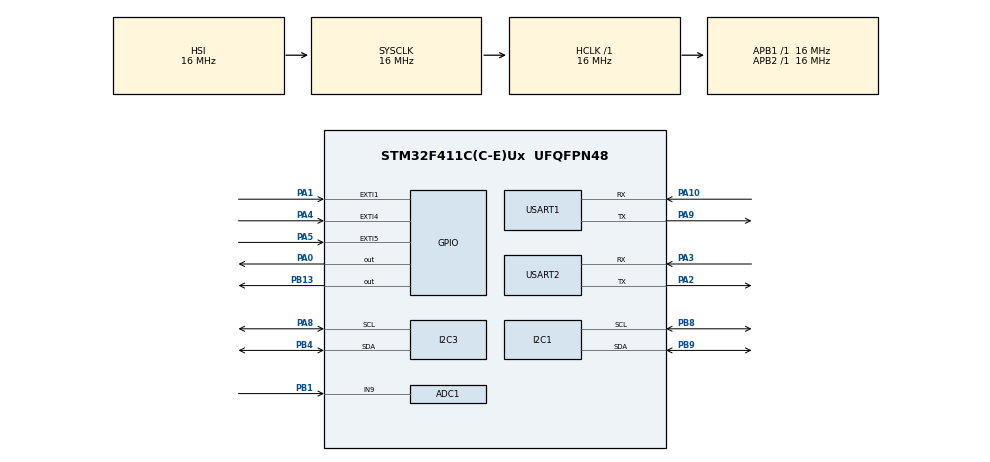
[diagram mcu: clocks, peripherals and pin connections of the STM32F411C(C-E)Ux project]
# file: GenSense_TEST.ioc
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ADC1.Channel-1\#ChannelRegularConversion=ADC_CHANNEL_9
ADC1.NbrOfConversionFlag=1
ADC1.Rank-1\#ChannelRegularConversion=1
ADC1.SamplingTime-1\#ChannelRegularConversion=ADC_SAMPLETIME_3CYCLES
ADC1.master=1
Mcu.Family=STM32F4
Mcu.Name=STM32F411C(C-E)Ux
Mcu.Package=UFQFPN48
NVIC.PriorityGroup=NVIC_PRIORITYGROUP_4
NVIC.TIM3_IRQn=true\:0\:0\:false\:false\:true\:true\:true\:true
PA0-WKUP.Signal=GPIO_Output
PA1.Signal=GPXTI1
PA10.Mode=Asynchronous
PA10.Signal=USART1_RX
PA13.Mode=Trace_Asynchronous_SW
PA13.Signal=SYS_JTMS-SWDIO
PA14.Mode=Trace_Asynchronous_SW
PA14.Signal=SYS_JTCK-SWCLK
PA2.Mode=Asynchronous
PA2.Signal=USART2_TX
PA3.Mode=Asynchronous
PA3.Signal=USART2_RX
PA4.Signal=GPXTI4
PA5.Signal=GPXTI5
PA8.Mode=I2C
PA8.Signal=I2C3_SCL
PA9.Mode=Asynchronous
PA9.Signal=USART1_TX
PB1.Signal=ADCx_IN9
PB13.Signal=GPIO_Output
PB3.Mode=Trace_Asynchronous_SW
PB3.Signal=SYS_JTDO-SWO
PB4.Mode=I2C
PB4.Signal=I2C3_SDA
PB8.Mode=I2C
PB8.Signal=I2C1_SCL
PB9.Mode=I2C
PB9.Signal=I2C1_SDA
PH0\ -\ OSC_IN.Mode=HSE-External-Oscillator
PH0\ -\ OSC_IN.Signal=RCC_OSC_IN
PH1\ -\ OSC_OUT.Mode=HSE-External-Oscillator
PH1\ -\ OSC_OUT.Signal=RCC_OSC_OUT
ProjectManager.HeapSize=0x200
ProjectManager.StackSize=0x400
ProjectManager.TargetToolchain=STM32CubeIDE
RCC.AHBFreq_Value=16000000
RCC.APB1Freq_Value=16000000
RCC.APB2Freq_Value=16000000
RCC.CortexFreq_Value=16000000
RCC.HSE_VALUE=25000000
RCC.HSI_VALUE=16000000
RCC.LSE_VALUE=32768
RCC.SYSCLKFreq_VALUE=16000000
RCC.VCOOutputFreq_Value=192000000
SH.ADCx_IN9.0=ADC1_IN9,IN9
TIM3.AutoReloadPreload=TIM_AUTORELOAD_PRELOAD_ENABLE
TIM3.Period=63998
TIM3.Prescaler=124
USART1.VirtualMode=VM_ASYNC
USART2.VirtualMode=VM_ASYNC
VP_TIM3_VS_ClockSourceINT.Mode=Internal
board=custom

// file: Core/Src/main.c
/* USER CODE BEGIN Header */
/**
  ******************************************************************************
  * @file           : main.c
  * @brief          : Main program body
  ******************************************************************************
  * @attention
  *
  * Copyright (c) 2023 STMicroelectronics.
  * All rights reserved.
  *
  * This software is licensed under terms that can be found in the LICENSE file
  * in the root directory of this software component.
  * If no LICENSE file comes with this software, it is provided AS-IS.
  *
  ******************************************************************************
  */
/* USER CODE END Header */
#include "main.h"

/* USER CODE BEGIN Includes */
#include "PCA9548a.h"
#include "mlx90614.h"
#include "sht3x.h"
#include "PASCO2.h"
#include "VEML6031.h"
#include "AS7343.h"
/* USER CODE END Includes */

/* USER CODE BEGIN PM */
#define SHT31_COUNTER 20
#define PASCO2_COUNTER 20
#define VEML6031_COUNTER 20
#define AS7343_COUNTER 20
#define MLX90614_COUNTER 10
/* USER CODE END PM */

ADC_HandleTypeDef hadc1;

I2C_HandleTypeDef hi2c1;
I2C_HandleTypeDef hi2c3;

TIM_HandleTypeDef htim3;

UART_HandleTypeDef huart1;
UART_HandleTypeDef huart2;

void SystemClock_Config(void);
static void MX_GPIO_Init(void);
static void MX_I2C1_Init(void);
static void MX_I2C3_Init(void);
static void MX_USART1_UART_Init(void);
static void MX_TIM3_Init(void);
static void MX_ADC1_Init(void);
static void MX_USART2_UART_Init(void);
/* USER CODE BEGIN PFP */

pca9548a_handle_t pca9548a;
sht3x_handle_t sht31d;
pasco2_handle_t pasco2;
veml6031_handle_t veml6031;
as7343_handle_t as7343;

uint16_t SHT31_counter = SHT31_COUNTER;
bool SHT31_counter_timeout_flag = false;

uint16_t PASCO2_counter = PASCO2_COUNTER;
bool PASCO2_counter_timeout_flag = false;

uint16_t VEML6031_counter = VEML6031_COUNTER;
bool VEML6031_counter_timeout_flag = false;

uint16_t AS7343_counter = AS7343_COUNTER;
bool AS7343_counter_timeout_flag = false;

uint16_t MLX90614_counter = MLX90614_COUNTER;
bool MLX90614_counter_timeout_flag = false;
/* USER CODE END PFP */

/* USER CODE BEGIN 0 */
void scan_I2C_bus(I2C_HandleTypeDef* bus, uint8_t busNo) {
	HAL_StatusTypeDef result;
	char buf[20];

	sprintf(buf, "Scanning Bus %d\r\n", busNo);
	HAL_UART_Transmit(&huart1, (uint8_t *)buf, sizeof(buf), 100);
	memset(buf, 0, sizeof(buf));

	for (int i = 0; i<0x7F; i++)
	  {
		  result = HAL_I2C_IsDeviceReady(bus, (uint16_t) (i<<1), 3, 5);
//		  if (result != HAL_OK)
//		  {
//			  sprintf(buf, "--\r\n");
//			  HAL_UART_Transmit(&huart1, (uint8_t *)buf, sizeof(buf), 100);
//			  memset(buf, 0, sizeof(buf));
//		  }
		  if (result == HAL_OK)
		  {
			  sprintf(buf, "0x%X\r\n", i);
			  HAL_UART_Transmit(&huart1, (uint8_t *)buf, sizeof(buf), 100);
			  memset(buf, 0, sizeof(buf));
		  }
	  }
}
int takeSize(char *Array)
{
    int count=0;
    while(Array[count]!='\n' && count<100)
    {
    	count++;
    }

    return (count+1);

}

/* USER CODE END 0 */

int main(void)
{

  /* MCU Configuration--------------------------------------------------------*/

  /* Reset of all peripherals, Initializes the Flash interface and the Systick. */
  HAL_Init();

  /* Configure the system clock */
  SystemClock_Config();

  /* Initialize all configured peripherals */
  MX_GPIO_Init();
  MX_I2C1_Init();
  MX_I2C3_Init();
  MX_USART1_UART_Init();
  MX_TIM3_Init();
  MX_ADC1_Init();
  MX_USART2_UART_Init();
  /* USER CODE BEGIN 2 */
  huart2 = huart1;

  //I2C Mux handler
  HAL_GPIO_WritePin(GPIOA, GPIO_PIN_0, 1);
  HAL_Delay(100);
  pca9548a.i2c_handle = &hi2c1;
  pca9548a.device_address = (uint16_t)PCA9548_ADDR0;
  PCA9548a_Select(&pca9548a, 0);

  //SHT handler
  sht31d.i2c_handle = &hi2c3;
  sht31d.device_address = (uint16_t)SHT3X_I2C_DEVICE_ADDRESS_ADDR_PIN_LOW;
  sht3x_init(&sht31d);

  //PASCO2 handler
  pasco2.i2c_handle = &hi2c3;
  pasco2.device_address = (uint16_t)PASCO2_ADDR;
  PASCO2_init(&pasco2);

  //VEML6031 handler
  veml6031.i2c_handle = &hi2c3;
  veml6031.device_address = VEML6031_I2C_ADDRESS;

  //VEML6031 handler
  as7343.i2c_handle = &hi2c3;
  as7343.device_address = AS7343_ADDR_A;
  AS7343_power(&as7343, true);
  AS7343_set_cycle(&as7343, 3);
  AS7343_direct_config_3_chain(&as7343);

  //MLX90614 handler
  MLX90614_Init(&hi2c1);

//  if(!PASCO2_get_status(&pasco2)) {
//	  char* error = "Error in PASCO2 configuration.\r\n";
//	  HAL_UART_Transmit(&huart1, error, takeSize(error), 100);
//
//	  return;
//  }

  //variables to store data
  float sht31_temp, sht31_humidity, resolution, as7343_TINT;
  uint16_t co2_ppm;
  uint32_t lux;
  uint8_t IR;
  float temp_obj1, temp_amb;

  uint16_t as7343_channels[18];

  uint32_t uart_buf_len;
  char uart_buf[100];
  HAL_Delay(100);

  scan_I2C_bus(&hi2c1, 1);
  scan_I2C_bus(&hi2c3, 3);

  HAL_TIM_Base_Start_IT(&htim3);

//  for(int i = 0; i<8;i++) {
//  	  PCA9548a_Select(&pca9548a, i);
//    	  HAL_Delay(500);
//    	  HAL_I2C_Master_Receive(&hi2c1, (0x70 << 1), &IR, 1, 10);
//    	  uart_buf_len = sprintf(uart_buf, "Channel: %d\r\n\n", IR);
//    	  HAL_UART_Transmit(&huart1, (uint8_t *)uart_buf, uart_buf_len, 100);
//    	  memset(uart_buf, 0, sizeof(uart_buf));
//    	  HAL_Delay(500);
//    	  scan_I2C_bus(&hi2c1, 1);
//    	  HAL_Delay(500);
//    }

  /* USER CODE END 2 */

  /* Infinite loop */
  /* USER CODE BEGIN WHILE */
  int i = 0;
  while (1)
  {
    /* USER CODE END WHILE */

    /* USER CODE BEGIN 3 */
//	  scan_I2C_bus(&hi2c1, 1);
//	  HAL_Delay(500);
//	  HAL_I2C_Master_Receive(&hi2c1, (0x70 << 1), &IR, 1, 10);
//	  uart_buf_len = sprintf(uart_buf, "Channel: %d\r\n\n", IR);
//	  HAL_UART_Transmit(&huart1, (uint8_t *)uart_buf, uart_buf_len, 100);
//	  memset(uart_buf, 0, sizeof(uart_buf));

//	  PCA9548a_Select(&pca9548a, 1);

	  if(SHT31_counter_timeout_flag) {
	  	//trigger SHT35 read

	  	SHT31_counter_timeout_flag = 0;

	  	sht3x_read_temperature_and_humidity(&sht31d, &(sht31_temp), &(sht31_humidity) );

	  	uart_buf_len = sprintf(uart_buf, "Temperature: %0.2f and Humidity: %.2f\r\n\n", sht31_temp, sht31_humidity);
	  	HAL_UART_Transmit(&huart1, (uint8_t *)uart_buf, uart_buf_len, 100);
	  	memset(uart_buf, 0, sizeof(uart_buf));
	  }

	  else if(PASCO2_counter_timeout_flag) {
	  	//trigger PASCO2 read

	  	PASCO2_counter_timeout_flag = 0;

		co2_ppm = PASCO2_get_ppm(&pasco2);

		uart_buf_len = sprintf(uart_buf, "CO2 Concentration (ppm): %d\r\n\n", co2_ppm);
		HAL_UART_Transmit(&huart2, (uint8_t *)uart_buf, uart_buf_len, 100);
		memset(uart_buf, 0, sizeof(uart_buf));
	  }
	  else if(VEML6031_counter_timeout_flag) {
	  	//trigger VEML6031 read

		VEML6031_counter_timeout_flag = 0;

		resolution = VEML6031_optimizer(&veml6031);
		lux = VEML6031_read_light(&veml6031)*resolution;

		uart_buf_len = sprintf(uart_buf, "Light Intensity (lux): %d\r\n\n", lux);
		HAL_UART_Transmit(&huart2, (uint8_t *)uart_buf, uart_buf_len, 100);
		memset(uart_buf, 0, sizeof(uart_buf));
	  }
	  else if(AS7343_counter_timeout_flag) {
	  	//trigger VEML6031 read

		AS7343_counter_timeout_flag = 0;

		AS7343_optimizer(&as7343, 1000.0);
		HAL_Delay(20);
		AS7343_read_18(&as7343, as7343_channels);

		uart_buf_len = sprintf(uart_buf, "AS7343 F1: 0x%x - 0d%d\r\n", as7343_channels[12], as7343_channels[12]);
		HAL_UART_Transmit(&huart2, uart_buf, uart_buf_len, 100);
		memset(uart_buf, 0, sizeof(uart_buf));

		uart_buf_len = sprintf(uart_buf, "AS7343 F2: 0x%x - 0d%d\r\n", as7343_channels[6], as7343_channels[6]);
		HAL_UART_Transmit(&huart2, uart_buf, uart_buf_len, 100);
		memset(uart_buf, 0, sizeof(uart_buf));

		uart_buf_len = sprintf(uart_buf, "AS7343 FZ: 0x%x - 0d%d\r\n", as7343_channels[0], as7343_channels[0]);
		HAL_UART_Transmit(&huart2, uart_buf, uart_buf_len, 100);
		memset(uart_buf, 0, sizeof(uart_buf));

		uart_buf_len = sprintf(uart_buf, "AS7343 F3: 0x%x - 0d%d\r\n", as7343_channels[7], as7343_channels[7]);
		HAL_UART_Transmit(&huart2, uart_buf, uart_buf_len, 100);
		memset(uart_buf, 0, sizeof(uart_buf));

		uart_buf_len = sprintf(uart_buf, "AS7343 F4: 0x%x - 0d%d\r\n", as7343_channels[8], as7343_channels[8]);
		HAL_UART_Transmit(&huart2, uart_buf, uart_buf_len, 100);
		memset(uart_buf, 0, sizeof(uart_buf));

		uart_buf_len = sprintf(uart_buf, "AS7343 FY: 0x%x - 0d%d\r\n", as7343_channels[1], as7343_channels[1]);
		HAL_UART_Transmit(&huart2, uart_buf, uart_buf_len, 100);
		memset(uart_buf, 0, sizeof(uart_buf));

		uart_buf_len = sprintf(uart_buf, "AS7343 F5: 0x%x - 0d%d\r\n", as7343_channels[15], as7343_channels[15]);
		HAL_UART_Transmit(&huart2, uart_buf, uart_buf_len, 100);
		memset(uart_buf, 0, sizeof(uart_buf));

		uart_buf_len = sprintf(uart_buf, "AS7343 FXL: 0x%x - 0d%d\r\n", as7343_channels[2], as7343_channels[2]);
		HAL_UART_Transmit(&huart2, uart_buf, uart_buf_len, 100);
		memset(uart_buf, 0, sizeof(uart_buf));

		uart_buf_len = sprintf(uart_buf, "AS7343 F6: 0x%x - 0d%d\r\n", as7343_channels[9], as7343_channels[9]);
		HAL_UART_Transmit(&huart2, uart_buf, uart_buf_len, 100);
		memset(uart_buf, 0, sizeof(uart_buf));

		uart_buf_len = sprintf(uart_buf, "AS7343 F7: 0x%x - 0d%d\r\n", as7343_channels[13], as7343_channels[13]);
		HAL_UART_Transmit(&huart2, uart_buf, uart_buf_len, 100);
		memset(uart_buf, 0, sizeof(uart_buf));

		uart_buf_len = sprintf(uart_buf, "AS7343 F8: 0x%x - 0d%d\r\n", as7343_channels[14], as7343_channels[14]);
		HAL_UART_Transmit(&huart2, uart_buf, uart_buf_len, 100);
		memset(uart_buf, 0, sizeof(uart_buf));

		uart_buf_len = sprintf(uart_buf, "AS7343 NIR: 0x%x - 0d%d\r\n", as7343_channels[3], as7343_channels[3]);
		HAL_UART_Transmit(&huart2, uart_buf, uart_buf_len, 100);
		memset(uart_buf, 0, sizeof(uart_buf));

		uint16_t VIS = (as7343_channels[4]<<1)+(as7343_channels[10]<<1);
		uart_buf_len = sprintf(uart_buf, "AS7343 VIS: 0x%x - 0d%d\r\n", as7343_channels[4], as7343_channels[4]);
		HAL_UART_Transmit(&huart2, uart_buf, uart_buf_len, 100);
		memset(uart_buf, 0, sizeof(uart_buf));

		uint8_t as7343_AGAIN = AS7343_get_gain(&as7343);
		uart_buf_len = sprintf(uart_buf, "AS7343 GAIN: %d\r\n", as7343_AGAIN);
		HAL_UART_Transmit(&huart2, uart_buf, uart_buf_len, 100);
		memset(uart_buf, 0, sizeof(uart_buf));

		as7343_TINT = AS7343_get_TINT(&as7343);
		uart_buf_len = sprintf(uart_buf, "AS7343 TINT: %f\r\n\n\n", as7343_TINT);
		HAL_UART_Transmit(&huart2, uart_buf, uart_buf_len, 100);
		memset(uart_buf, 0, sizeof(uart_buf));
	  }
	  if(MLX90614_counter_timeout_flag) {
	  		  //trigger MLX90614 read

	    MLX90614_counter_timeout_flag = 0;

	  	temp_obj1 = MLX90614_ReadTObj1();
	  	HAL_Delay(5);
	  	temp_amb = MLX90614_ReadTAmb();

	  	uart_buf_len = sprintf(uart_buf, "IR Sensor: T obj1: %.2f, T amb: %.2f\r\n", temp_obj1, temp_amb);
	  	HAL_UART_Transmit(&huart2, uart_buf, uart_buf_len, 100);
	  	memset(uart_buf, 0, sizeof(uart_buf));
	  }
  }
  /* USER CODE END 3 */
}

void SystemClock_Config(void)
{
  RCC_OscInitTypeDef RCC_OscInitStruct = {0};
  RCC_ClkInitTypeDef RCC_ClkInitStruct = {0};

  /** Configure the main internal regulator output voltage
  */
  __HAL_RCC_PWR_CLK_ENABLE();
  __HAL_PWR_VOLTAGESCALING_CONFIG(PWR_REGULATOR_VOLTAGE_SCALE1);

  /** Initializes the RCC Oscillators according to the specified parameters
  * in the RCC_OscInitTypeDef structure.
  */
  RCC_OscInitStruct.OscillatorType = RCC_OSCILLATORTYPE_HSI;
  RCC_OscInitStruct.HSIState = RCC_HSI_ON;
  RCC_OscInitStruct.HSICalibrationValue = RCC_HSICALIBRATION_DEFAULT;
  RCC_OscInitStruct.PLL.PLLState = RCC_PLL_NONE;
  if (HAL_RCC_OscConfig(&RCC_OscInitStruct) != HAL_OK)
  {
    Error_Handler();
  }

  /** Initializes the CPU, AHB and APB buses clocks
  */
  RCC_ClkInitStruct.ClockType = RCC_CLOCKTYPE_HCLK|RCC_CLOCKTYPE_SYSCLK
                              |RCC_CLOCKTYPE_PCLK1|RCC_CLOCKTYPE_PCLK2;
  RCC_ClkInitStruct.SYSCLKSource = RCC_SYSCLKSOURCE_HSI;
  RCC_ClkInitStruct.AHBCLKDivider = RCC_SYSCLK_DIV1;
  RCC_ClkInitStruct.APB1CLKDivider = RCC_HCLK_DIV1;
  RCC_ClkInitStruct.APB2CLKDivider = RCC_HCLK_DIV1;

  if (HAL_RCC_ClockConfig(&RCC_ClkInitStruct, FLASH_LATENCY_0) != HAL_OK)
  {
    Error_Handler();
  }
}

static void MX_ADC1_Init(void)
{

  ADC_ChannelConfTypeDef sConfig = {0};

  /** Configure the global features of the ADC (Clock, Resolution, Data Alignment and number of conversion)
  */
  hadc1.Instance = ADC1;
  hadc1.Init.ClockPrescaler = ADC_CLOCK_SYNC_PCLK_DIV2;
  hadc1.Init.Resolution = ADC_RESOLUTION_12B;
  hadc1.Init.ScanConvMode = DISABLE;
  hadc1.Init.ContinuousConvMode = DISABLE;
  hadc1.Init.DiscontinuousConvMode = DISABLE;
  hadc1.Init.ExternalTrigConvEdge = ADC_EXTERNALTRIGCONVEDGE_NONE;
  hadc1.Init.ExternalTrigConv = ADC_SOFTWARE_START;
  hadc1.Init.DataAlign = ADC_DATAALIGN_RIGHT;
  hadc1.Init.NbrOfConversion = 1;
  hadc1.Init.DMAContinuousRequests = DISABLE;
  hadc1.Init.EOCSelection = ADC_EOC_SINGLE_CONV;
  if (HAL_ADC_Init(&hadc1) != HAL_OK)
  {
    Error_Handler();
  }

  /** Configure for the selected ADC regular channel its corresponding rank in the sequencer and its sample time.
  */
  sConfig.Channel = ADC_CHANNEL_9;
  sConfig.Rank = 1;
  sConfig.SamplingTime = ADC_SAMPLETIME_3CYCLES;
  if (HAL_ADC_ConfigChannel(&hadc1, &sConfig) != HAL_OK)
  {
    Error_Handler();
  }

}

static void MX_I2C1_Init(void)
{

  hi2c1.Instance = I2C1;
  hi2c1.Init.ClockSpeed = 100000;
  hi2c1.Init.DutyCycle = I2C_DUTYCYCLE_2;
  hi2c1.Init.OwnAddress1 = 0;
  hi2c1.Init.AddressingMode = I2C_ADDRESSINGMODE_7BIT;
  hi2c1.Init.DualAddressMode = I2C_DUALADDRESS_DISABLE;
  hi2c1.Init.OwnAddress2 = 0;
  hi2c1.Init.GeneralCallMode = I2C_GENERALCALL_DISABLE;
  hi2c1.Init.NoStretchMode = I2C_NOSTRETCH_DISABLE;
  if (HAL_I2C_Init(&hi2c1) != HAL_OK)
  {
    Error_Handler();
  }

}

static void MX_I2C3_Init(void)
{

  hi2c3.Instance = I2C3;
  hi2c3.Init.ClockSpeed = 100000;
  hi2c3.Init.DutyCycle = I2C_DUTYCYCLE_2;
  hi2c3.Init.OwnAddress1 = 0;
  hi2c3.Init.AddressingMode = I2C_ADDRESSINGMODE_7BIT;
  hi2c3.Init.DualAddressMode = I2C_DUALADDRESS_DISABLE;
  hi2c3.Init.OwnAddress2 = 0;
  hi2c3.Init.GeneralCallMode = I2C_GENERALCALL_DISABLE;
  hi2c3.Init.NoStretchMode = I2C_NOSTRETCH_DISABLE;
  if (HAL_I2C_Init(&hi2c3) != HAL_OK)
  {
    Error_Handler();
  }

}

static void MX_TIM3_Init(void)
{

  TIM_ClockConfigTypeDef sClockSourceConfig = {0};
  TIM_MasterConfigTypeDef sMasterConfig = {0};

  htim3.Instance = TIM3;
  htim3.Init.Prescaler = 124;
  htim3.Init.CounterMode = TIM_COUNTERMODE_UP;
  htim3.Init.Period = 63998;
  htim3.Init.ClockDivision = TIM_CLOCKDIVISION_DIV1;
  htim3.Init.AutoReloadPreload = TIM_AUTORELOAD_PRELOAD_ENABLE;
  if (HAL_TIM_Base_Init(&htim3) != HAL_OK)
  {
    Error_Handler();
  }
  sClockSourceConfig.ClockSource = TIM_CLOCKSOURCE_INTERNAL;
  if (HAL_TIM_ConfigClockSource(&htim3, &sClockSourceConfig) != HAL_OK)
  {
    Error_Handler();
  }
  sMasterConfig.MasterOutputTrigger = TIM_TRGO_RESET;
  sMasterConfig.MasterSlaveMode = TIM_MASTERSLAVEMODE_DISABLE;
  if (HAL_TIMEx_MasterConfigSynchronization(&htim3, &sMasterConfig) != HAL_OK)
  {
    Error_Handler();
  }

}

static void MX_USART1_UART_Init(void)
{

  huart1.Instance = USART1;
  huart1.Init.BaudRate = 115200;
  huart1.Init.WordLength = UART_WORDLENGTH_8B;
  huart1.Init.StopBits = UART_STOPBITS_1;
  huart1.Init.Parity = UART_PARITY_NONE;
  huart1.Init.Mode = UART_MODE_TX_RX;
  huart1.Init.HwFlowCtl = UART_HWCONTROL_NONE;
  huart1.Init.OverSampling = UART_OVERSAMPLING_16;
  if (HAL_UART_Init(&huart1) != HAL_OK)
  {
    Error_Handler();
  }

}

static void MX_USART2_UART_Init(void)
{

  huart2.Instance = USART2;
  huart2.Init.BaudRate = 9600;
  huart2.Init.WordLength = UART_WORDLENGTH_8B;
  huart2.Init.StopBits = UART_STOPBITS_1;
  huart2.Init.Parity = UART_PARITY_NONE;
  huart2.Init.Mode = UART_MODE_TX_RX;
  huart2.Init.HwFlowCtl = UART_HWCONTROL_NONE;
  huart2.Init.OverSampling = UART_OVERSAMPLING_16;
  if (HAL_UART_Init(&huart2) != HAL_OK)
  {
    Error_Handler();
  }

}

static void MX_GPIO_Init(void)
{
  GPIO_InitTypeDef GPIO_InitStruct = {0};

  /* GPIO Ports Clock Enable */
  __HAL_RCC_GPIOH_CLK_ENABLE();
  __HAL_RCC_GPIOA_CLK_ENABLE();
  __HAL_RCC_GPIOB_CLK_ENABLE();

  /*Configure GPIO pin Output Level */
  HAL_GPIO_WritePin(GPIOA, GPIO_PIN_0, GPIO_PIN_RESET);

  /*Configure GPIO pin Output Level */
  HAL_GPIO_WritePin(GPIOB, GPIO_PIN_13, GPIO_PIN_RESET);

  /*Configure GPIO pin : PA0 */
  GPIO_InitStruct.Pin = GPIO_PIN_0;
  GPIO_InitStruct.Mode = GPIO_MODE_OUTPUT_PP;
  GPIO_InitStruct.Pull = GPIO_NOPULL;
  GPIO_InitStruct.Speed = GPIO_SPEED_FREQ_LOW;
  HAL_GPIO_Init(GPIOA, &GPIO_InitStruct);

  /*Configure GPIO pins : PA1 PA4 PA5 */
  GPIO_InitStruct.Pin = GPIO_PIN_1|GPIO_PIN_4|GPIO_PIN_5;
  GPIO_InitStruct.Mode = GPIO_MODE_IT_RISING;
  GPIO_InitStruct.Pull = GPIO_NOPULL;
  HAL_GPIO_Init(GPIOA, &GPIO_InitStruct);

  /*Configure GPIO pin : PB13 */
  GPIO_InitStruct.Pin = GPIO_PIN_13;
  GPIO_InitStruct.Mode = GPIO_MODE_OUTPUT_PP;
  GPIO_InitStruct.Pull = GPIO_NOPULL;
  GPIO_InitStruct.Speed = GPIO_SPEED_FREQ_LOW;
  HAL_GPIO_Init(GPIOB, &GPIO_InitStruct);

}

/* USER CODE BEGIN 4 */
void HAL_TIM_PeriodElapsedCallback(TIM_HandleTypeDef* htim) {
	/*
	 * Calls when Timer period is reached T = 0.5s
	 */
	HAL_GPIO_TogglePin(GPIOB, GPIO_PIN_13);

	if(--SHT31_counter == 0) {
		//SHT3x Handler
		SHT31_counter_timeout_flag = true;
		SHT31_counter = SHT31_COUNTER;
	}
	if(--PASCO2_counter == 0) {
		//PASCO2 Handler
		PASCO2_counter_timeout_flag = true;
		PASCO2_counter = PASCO2_COUNTER;
	}
	if(--VEML6031_counter == 0) {
		//VEML6031 Handler
		VEML6031_counter_timeout_flag = true;
		VEML6031_counter = VEML6031_COUNTER;
	}
//	if(--AS7343_counter == 0) {
//		//AS7343 Handler
//		AS7343_counter_timeout_flag = true;
//		AS7343_counter = AS7343_COUNTER;
//	}
	if(--MLX90614_counter == 0) {
		//MLX90614 Handler
		MLX90614_counter_timeout_flag = true;
		MLX90614_counter = MLX90614_COUNTER;
	}

}
/* USER CODE END 4 */

void Error_Handler(void)
{
  __disable_irq();
  while (1)
  {
  }
}
